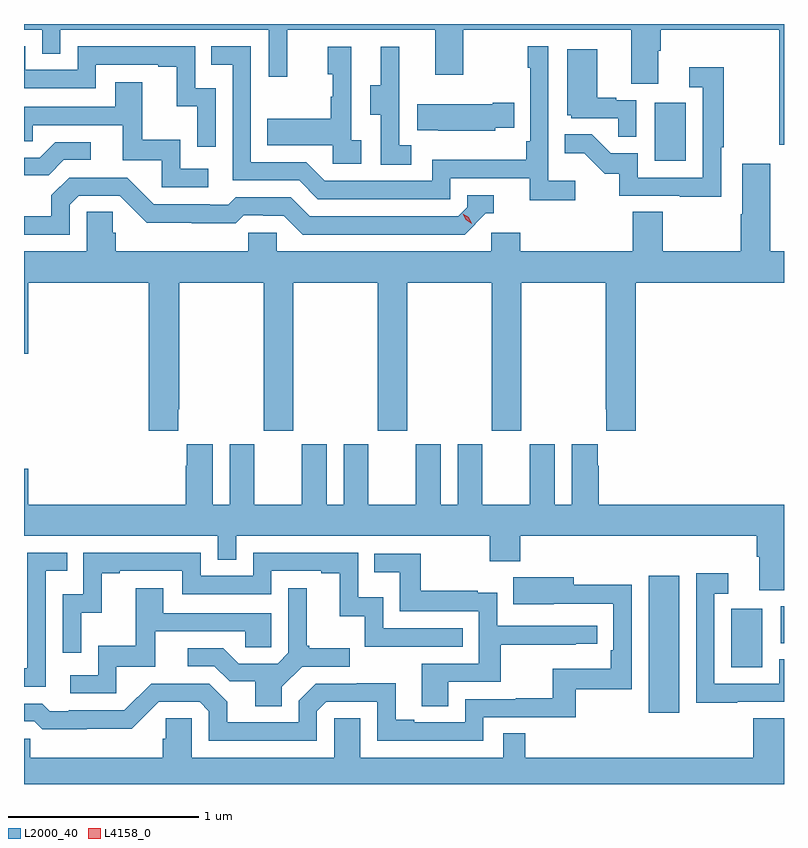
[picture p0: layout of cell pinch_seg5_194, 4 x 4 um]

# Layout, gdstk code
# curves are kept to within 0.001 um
import gdstk
lib = gdstk.Library(unit=1e-6, precision=1e-09)
def R(c, l, rs):  # rectangles x0, y0, x1, y1
    for r in rs: c.add(gdstk.rectangle(r[:2], r[2:], *l))
def P(c, l, *ps):  # polygons
    for p in ps: c.add(gdstk.Polygon(p, *l))
L2000_40 = (2000, 40)
L4158_0 = (4158, 0)

pinch_seg5_194 = lib.new_cell('pinch_seg5_194')
R(pinch_seg5_194, L2000_40, [(995.609,895.788,995.77,896.509), (996.044,896.028,996.208,896.335), (996.306,896.155,996.322,896.349), (995.642,898.692,995.806,898.999)])
P(pinch_seg5_194, L2000_40, [(996.322,899.413),(992.322,899.413),(992.322,899.384),(992.418,899.384),(992.418,899.257),(992.514,899.257),(992.514,899.384),(993.609,899.384),(993.609,899.136),(993.707,899.136),(993.707,899.384),(994.487,899.384),(994.487,899.145),(994.635,899.145),(994.635,899.384),(995.519,899.384),(995.519,899.098),(995.659,899.098),(995.659,899.272),(995.672,899.272),(995.672,899.384),(996.296,899.384),(996.296,898.778),(996.322,898.778)],
  [(995.224,898.588),(995.082,898.588),(995.082,899.296),(994.974,899.296),(994.974,899.183),(994.986,899.183),(994.986,898.795),(994.966,898.795),(994.966,898.699),(994.47,898.699),(994.47,898.587),(993.906,898.587),(993.807,898.686),(993.516,898.686),(993.516,899.295),(993.307,899.295),(993.307,899.199),(993.42,899.199),(993.42,898.59),(993.77,898.59),(993.869,898.491),(994.566,898.491),(994.566,898.602),(994.985,898.602),(994.985,898.486),(995.224,898.486)],
  [(993.33,899.076),(993.222,899.076),(993.222,899.295),(992.604,899.295),(992.604,899.172),(992.328,899.172),(992.328,899.295),(992.322,899.295),(992.322,899.076),(992.7,899.076),(992.7,899.199),(993.029,899.199),(993.029,899.187),(993.125,899.187),(993.125,898.979),(993.234,898.979),(993.234,898.767),(993.33,898.767)],
  [(994.36,898.775),(994.296,898.775),(994.296,899.079),(994.298,899.079),(994.298,899.293),(994.199,899.293),(994.199,899.091),(994.145,899.091),(994.145,898.936),(994.2,898.936),(994.2,898.672),(994.36,898.672)],
  [(994.096,898.802),(994.044,898.802),(994.044,899.293),(993.92,899.293),(993.92,899.148),(993.946,899.148),(993.946,899.03),(993.936,899.03),(993.936,898.915),(993.601,898.915),(993.601,898.775),(993.948,898.775),(993.948,898.677),(994.096,898.677)],
  [(995.544,899.013),(995.438,899.013),(995.438,899.026),(995.338,899.026),(995.338,899.281),(995.18,899.281),(995.18,898.932),(995.202,898.932),(995.202,898.917),(995.449,898.917),(995.449,898.819),(995.544,898.819)],
  [(995.991,898.765),(996.004,898.765),(996.004,899.185),(995.823,899.185),(995.823,899.079),(995.895,899.079),(995.895,898.605),(995.553,898.605),(995.553,898.734),(995.409,898.734),(995.311,898.832),(995.167,898.832),(995.167,898.733),(995.271,898.733),(995.378,898.626),(995.455,898.626),(995.455,898.509),(995.773,898.509),(995.773,898.504),(995.991,898.504)],
  [(993.292,898.65),(993.144,898.65),(993.144,898.804),(992.945,898.804),(992.945,899.107),(992.801,899.107),(992.801,898.977),(992.322,898.977),(992.322,898.797),(992.369,898.797),(992.369,898.881),(992.843,898.881),(992.843,898.695),(993.048,898.695),(993.048,898.554),(993.292,898.554)],
  [(994.803,898.868),(994.901,898.868),(994.901,898.998),(994.79,898.998),(994.79,898.99),(994.393,898.99),(994.393,898.853),(994.501,898.853),(994.501,898.85),(994.803,898.85)],
  [(992.532,898.698),(992.674,898.698),(992.674,898.791),(992.486,898.791),(992.405,898.71),(992.322,898.71),(992.322,898.618),(992.452,898.618)],
  [(993.583,897.273),(993.738,897.273),(993.738,898.052),(994.183,898.052),(994.183,897.273),(994.338,897.273),(994.338,898.052),(994.783,898.052),(994.783,897.273),(994.938,897.273),(994.938,898.052),(995.383,898.052),(995.383,897.385),(995.387,897.385),(995.387,897.273),(995.543,897.273),(995.543,898.052),(996.322,898.052),(996.322,898.216),(996.249,898.216),(996.249,898.678),(996.101,898.678),(996.101,898.412),(996.094,898.412),(996.094,898.216),(995.685,898.216),(995.685,898.424),(995.525,898.424),(995.525,898.216),(994.934,898.216),(994.934,898.314),(994.782,898.314),(994.782,898.216),(993.651,898.216),(993.651,898.314),(993.501,898.314),(993.501,898.216),(992.804,898.216),(992.804,898.314),(992.789,898.314),(992.789,898.424),(992.652,898.424),(992.652,898.216),(992.322,898.216),(992.322,897.678),(992.344,897.678),(992.344,898.052),(992.978,898.052),(992.978,897.273),(993.133,897.273),(993.133,897.385),(993.138,897.385),(993.138,898.052),(993.583,898.052)],
  [(992.562,898.461),(992.61,898.509),(992.826,898.509),(992.968,898.367),(993.204,898.367),(993.204,898.365),(993.437,898.365),(993.479,898.407),(993.582,898.407),(993.582,898.404),(993.689,898.404),(993.788,898.305),(994.641,898.305),(994.752,898.416),(994.795,898.416),(994.795,898.512),(994.656,898.512),(994.656,898.449),(994.608,898.401),(993.825,898.401),(993.726,898.5),(993.437,898.5),(993.398,898.461),(993.299,898.461),(993.299,898.464),(993.006,898.464),(992.865,898.605),(992.559,898.605),(992.465,898.511),(992.465,898.401),(992.322,898.401),(992.322,898.305),(992.562,898.305)],
  [(996.322,896.884),(995.348,896.884),(995.348,897.089),(995.341,897.089),(995.341,897.202),(995.204,897.202),(995.204,896.884),(995.116,896.884),(995.116,897.202),(994.985,897.202),(994.985,896.884),(994.735,896.884),(994.735,897.202),(994.604,897.202),(994.604,896.884),(994.516,896.884),(994.516,897.202),(994.385,897.202),(994.385,896.884),(994.135,896.884),(994.135,897.202),(994.004,897.202),(994.004,896.884),(993.916,896.884),(993.916,897.202),(993.785,897.202),(993.785,896.884),(993.535,896.884),(993.535,897.202),(993.404,897.202),(993.404,896.884),(993.316,896.884),(993.316,897.202),(993.179,897.202),(993.179,897.089),(993.173,897.089),(993.173,896.884),(992.344,896.884),(992.344,897.073),(992.322,897.073),(992.322,896.72),(993.342,896.72),(993.342,896.593),(993.438,896.593),(993.438,896.72),(994.774,896.72),(994.774,896.585),(994.934,896.585),(994.934,896.72),(996.179,896.72),(996.179,896.608),(996.191,896.608),(996.191,896.434),(996.322,896.434)],
  [(992.622,896.315),(992.732,896.315),(992.732,896.523),(992.827,896.523),(992.827,896.535),(993.156,896.535),(993.156,896.412),(993.624,896.412),(993.624,896.535),(993.887,896.535),(993.887,896.523),(993.983,896.523),(993.983,896.297),(994.116,896.297),(994.116,896.136),(994.631,896.136),(994.631,896.232),(994.212,896.232),(994.212,896.395),(994.08,896.395),(994.08,896.631),(993.528,896.631),(993.528,896.508),(993.252,896.508),(993.252,896.631),(992.634,896.631),(992.634,896.412),(992.526,896.412),(992.526,896.103),(992.622,896.103)],
  [(992.436,896.535),(992.549,896.535),(992.549,896.631),(992.34,896.631),(992.34,896.022),(992.322,896.022),(992.322,895.926),(992.436,895.926)],
  [(994.555,895.95),(994.832,895.95),(994.832,896.146),(995.225,896.146),(995.225,896.151),(995.338,896.151),(995.338,896.247),(994.812,896.247),(994.812,896.419),(994.709,896.419),(994.709,896.431),(994.411,896.431),(994.411,896.625),(994.165,896.625),(994.165,896.528),(994.3,896.528),(994.3,896.322),(994.716,896.322),(994.716,896.046),(994.415,896.046),(994.415,895.822),(994.555,895.822)],
  [(996.077,895.845),(996.322,895.845),(996.322,896.07),(996.297,896.07),(996.297,895.941),(995.955,895.941),(995.955,896.415),(996.028,896.415),(996.028,896.521),(995.859,896.521),(995.859,895.84),(996.077,895.84)],
  [(993.864,895.797),(993.912,895.845),(994.182,895.845),(994.182,895.641),(994.74,895.641),(994.74,895.764),(995.227,895.764),(995.227,895.911),(995.52,895.911),(995.52,896.462),(995.215,896.462),(995.215,896.5),(994.897,896.5),(994.897,896.36),(995.424,896.361),(995.424,896.116),(995.411,896.116),(995.411,896.02),(995.106,896.02),(995.106,895.865),(994.909,895.865),(994.909,895.86),(994.644,895.86),(994.644,895.737),(994.375,895.737),(994.375,895.75),(994.279,895.75),(994.279,895.943),(994.074,895.943),(994.074,895.941),(993.858,895.941),(993.768,895.851),(993.768,895.737),(993.391,895.737),(993.391,895.847),(993.297,895.941),(992.991,895.941),(992.85,895.8),(992.557,895.8),(992.557,895.797),(992.458,895.797),(992.419,895.836),(992.322,895.836),(992.322,895.743),(992.377,895.743),(992.419,895.701),(992.652,895.701),(992.652,895.703),(992.888,895.703),(993.03,895.845),(993.246,895.845),(993.294,895.797),(993.294,895.641),(993.864,895.641)],
  [(992.808,896.031),(993.013,896.031),(993.013,896.217),(993.487,896.217),(993.487,896.133),(993.624,896.133),(993.624,896.313),(993.055,896.313),(993.055,896.443),(992.911,896.443),(992.911,896.14),(992.712,896.14),(992.712,895.986),(992.565,895.986),(992.565,895.89),(992.808,895.89)],
  [(993.679,895.924),(993.786,896.031),(994.036,896.031),(994.036,896.128),(993.823,896.128),(993.823,896.14),(993.811,896.14),(993.811,896.443),(993.714,896.443),(993.714,896.103),(993.657,896.046),(993.451,896.046),(993.37,896.127),(993.183,896.127),(993.183,896.034),(993.324,896.034),(993.404,895.954),(993.539,895.954),(993.539,895.822),(993.679,895.822)],
  [(996.322,895.76),(996.161,895.76),(996.161,895.552),(994.961,895.552),(994.961,895.679),(994.845,895.679),(994.845,895.552),(994.093,895.552),(994.093,895.76),(993.954,895.76),(993.954,895.552),(993.204,895.552),(993.204,895.76),(993.067,895.76),(993.067,895.65),(993.053,895.65),(993.053,895.552),(992.355,895.552),(992.355,895.65),(992.322,895.65),(992.322,895.413),(996.322,895.413)])
P(pinch_seg5_194, L4158_0, [(994.678,898.363),(994.648,898.382),(994.632,898.414),(994.632,898.415),(994.632,898.415),(994.663,898.396),(994.679,898.363),(994.679,898.363)])

lib.write_gds('pinch_seg5_194.gds')
